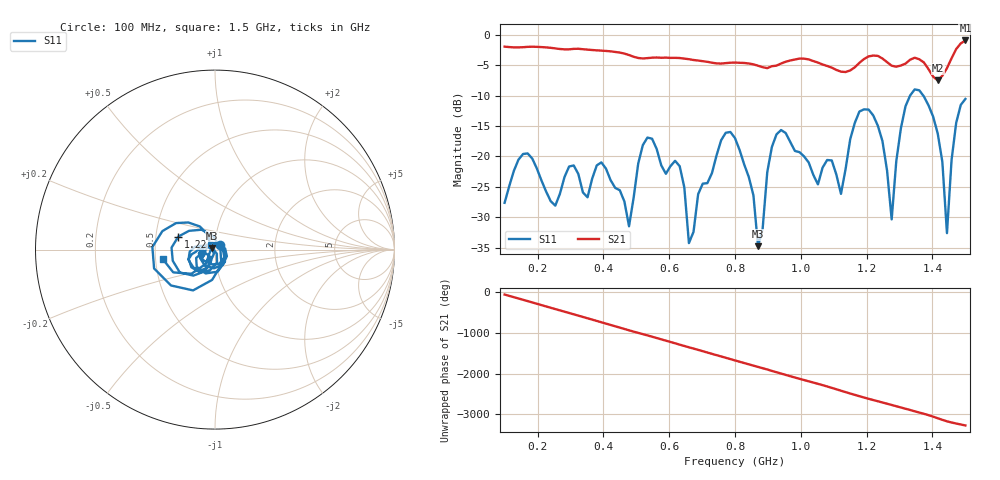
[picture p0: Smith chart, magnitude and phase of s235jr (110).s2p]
! NanoVNA-App
! Date: 2025-09-26 09:45:38
! Start: 100MHz Stop: 1,5GHz Points: 101
! S-Parameter data: F S11 S21 S12 S22
# Hz S RI R 50
!  Frequency  S11_Real  S11_Imag  S21_Real  S21_Imag  S12_Real  S12_Imag  S22_Real  S22_Imag
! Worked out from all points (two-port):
!   101 points, 100 MHz to 1.5 GHz, reference 50 ohm
!   highest |S21| = -0.94 dB at 1.5 GHz (marker M1); lowest = -7.5 dB at 1.416 GHz (marker M2)
!   |S21| within 3 dB of the highest: start of sweep to 647.9 MHz; 1.194 GHz to 1.249 GHz (54.87 MHz wide, 4.49 % of centre) (the widest 2 of 5)
!   lowest |S11| = -34.8 dB at 870 MHz (marker M3), VSWR 1.04, Z = 48.5 + j0.948 ohm
!   |S11| at or under -10 dB: start of sweep to 1.332 GHz; 1.372 GHz to end of sweep
!   S12 and S22 are empty: the file has one direction only
!   S11 on the Smith chart (normalised r, x): 100 MHz: 1.06, +0.06; 1.22 GHz: 0.65, +0.10; 1.5 GHz: 0.55, -0.06
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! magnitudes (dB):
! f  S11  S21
! 100 MHz  -27.6  -2.0
! 156 MHz  -19.6  -2.0
! 338 MHz  -25.9  -2.4
! 394 MHz  -21.0  -2.6
! 478 MHz  -31.5  -3.3
! 520 MHz  -18.1  -3.9
! 576 MHz  -21.5  -3.8
! 632 MHz  -21.6  -3.8
! 660 MHz  -34.3  -4.0
! 800 MHz  -17.0  -4.6
! 870 MHz  -34.8  -5.1
! 926 MHz  -16.4  -5.1
! 1.038 GHz  -23.1  -4.3
! 1.122 GHz  -26.2  -6.1
! 1.178 GHz  -12.6  -4.6
! 1.22 GHz  -13.3  -3.4
! 1.276 GHz  -30.4  -5.1
! 1.332 GHz  -10.0  -4.1
! 1.416 GHz  -16.3  -7.5
! 1.444 GHz  -32.6  -5.5
! 1.472 GHz  -14.5  -2.4
! 1.5 GHz  -10.6  -0.9
